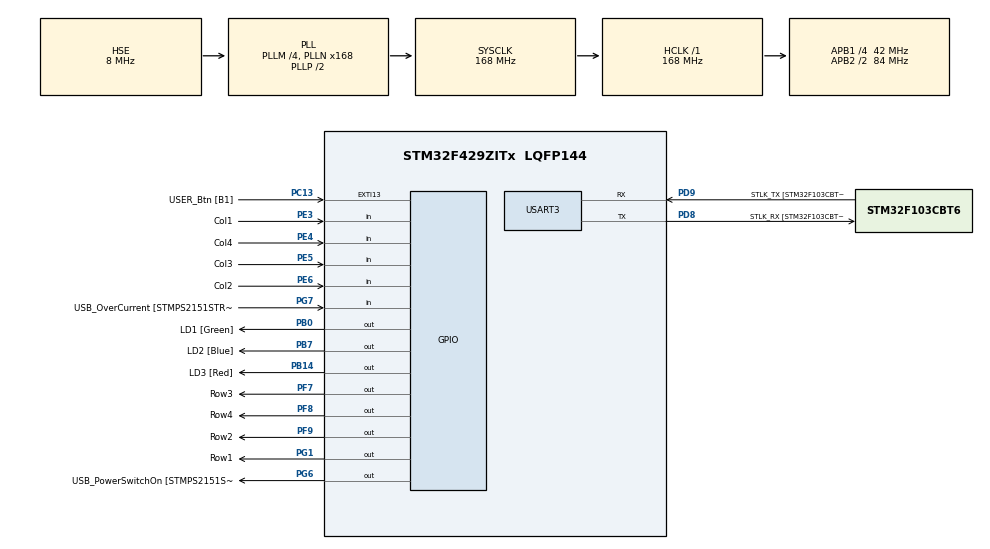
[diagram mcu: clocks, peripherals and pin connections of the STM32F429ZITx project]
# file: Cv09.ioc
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Mcu.Family=STM32F4
Mcu.Name=STM32F429ZITx
Mcu.Package=LQFP144
NVIC.PriorityGroup=NVIC_PRIORITYGROUP_4
NVIC.TIM3_IRQn=true\:0\:0\:false\:false\:true\:true\:true\:true
PA1.GPIO_Label=RMII_REF_CLK [LAN8742A-CZ-TR_REFCLK0]
PA1.Signal=ETH_REF_CLK
PA10.GPIO_Label=USB_ID
PA10.Signal=USB_OTG_FS_ID
PA11.GPIO_Label=USB_DM
PA11.Signal=USB_OTG_FS_DM
PA12.GPIO_Label=USB_DP
PA12.Signal=USB_OTG_FS_DP
PA13.GPIO_Label=TMS
PA13.Mode=Serial_Wire
PA13.Signal=SYS_JTMS-SWDIO
PA14.GPIO_Label=TCK
PA14.Mode=Serial_Wire
PA14.Signal=SYS_JTCK-SWCLK
PA2.GPIO_Label=RMII_MDIO [LAN8742A-CZ-TR_MDIO]
PA2.Signal=ETH_MDIO
PA7.GPIO_Label=RMII_CRS_DV [LAN8742A-CZ-TR_CRS_DV]
PA7.Signal=ETH_CRS_DV
PA8.GPIO_Label=USB_SOF [TP1]
PA8.Signal=USB_OTG_FS_SOF
PA9.GPIO_Label=USB_VBUS
PA9.Signal=USB_OTG_FS_VBUS
PB0.GPIO_Label=LD1 [Green]
PB0.Signal=GPIO_Output
PB13.GPIO_Label=RMII_TXD1 [LAN8742A-CZ-TR_TXD1]
PB13.Signal=ETH_TXD1
PB14.GPIO_Label=LD3 [Red]
PB14.Signal=GPIO_Output
PB7.GPIO_Label=LD2 [Blue]
PB7.Signal=GPIO_Output
PC1.GPIO_Label=RMII_MDC [LAN8742A-CZ-TR_MDC]
PC1.Signal=ETH_MDC
PC13.GPIO_Label=USER_Btn [B1]
PC13.Signal=GPXTI13
PC14/OSC32_IN.Mode=LSE-External-Oscillator
PC14/OSC32_IN.Signal=RCC_OSC32_IN
PC15/OSC32_OUT.Mode=LSE-External-Oscillator
PC15/OSC32_OUT.Signal=RCC_OSC32_OUT
PC4.GPIO_Label=RMII_RXD0 [LAN8742A-CZ-TR_RXD0]
PC4.Signal=ETH_RXD0
PC5.GPIO_Label=RMII_RXD1 [LAN8742A-CZ-TR_RXD1]
PC5.Signal=ETH_RXD1
PD8.GPIO_Label=STLK_RX [STM32F103CBT6_PA3]
PD8.Mode=Asynchronous
PD8.Signal=USART3_TX
PD9.GPIO_Label=STLK_TX [STM32F103CBT6_PA2]
PD9.Mode=Asynchronous
PD9.Signal=USART3_RX
PE3.GPIO_Label=Col1
PE3.GPIO_PuPd=GPIO_PULLUP
PE3.Signal=GPIO_Input
PE4.GPIO_Label=Col4
PE4.GPIO_PuPd=GPIO_PULLUP
PE4.Signal=GPIO_Input
PE5.GPIO_Label=Col3
PE5.GPIO_PuPd=GPIO_PULLUP
PE5.Signal=GPIO_Input
PE6.GPIO_Label=Col2
PE6.GPIO_PuPd=GPIO_PULLUP
PE6.Signal=GPIO_Input
PF7.GPIO_Label=Row3
PF7.GPIO_ModeDefaultOutputPP=GPIO_MODE_OUTPUT_OD
PF7.GPIO_PuPd=GPIO_NOPULL
PF7.Signal=GPIO_Output
PF8.GPIO_Label=Row4
PF8.GPIO_ModeDefaultOutputPP=GPIO_MODE_OUTPUT_OD
PF8.GPIO_PuPd=GPIO_NOPULL
PF8.Signal=GPIO_Output
PF9.GPIO_Label=Row2
PF9.GPIO_ModeDefaultOutputPP=GPIO_MODE_OUTPUT_OD
PF9.GPIO_PuPd=GPIO_NOPULL
PF9.Signal=GPIO_Output
PG1.GPIO_Label=Row1
PG1.GPIO_ModeDefaultOutputPP=GPIO_MODE_OUTPUT_OD
PG1.GPIO_PuPd=GPIO_NOPULL
PG1.Signal=GPIO_Output
PG11.GPIO_Label=RMII_TX_EN [LAN8742A-CZ-TR_TXEN]
PG11.Signal=ETH_TX_EN
PG13.GPIO_Label=RMII_TXD0 [LAN8742A-CZ-TR_TXD0]
PG13.Signal=ETH_TXD0
PG6.GPIO_Label=USB_PowerSwitchOn [STMPS2151STR_EN]
PG6.Signal=GPIO_Output
PG7.GPIO_Label=USB_OverCurrent [STMPS2151STR_FAULT]
PG7.Signal=GPIO_Input
PH0/OSC_IN.GPIO_Label=MCO [STM32F103CBT6_PA8]
PH0/OSC_IN.Mode=HSE-External-Clock-Source
PH0/OSC_IN.Signal=RCC_OSC_IN
PH1/OSC_OUT.Mode=HSE-External-Clock-Source
PH1/OSC_OUT.Signal=RCC_OSC_OUT
ProjectManager.HeapSize=0x200
ProjectManager.StackSize=0x400
ProjectManager.TargetToolchain=STM32CubeIDE
RCC.48MHZClocksFreq_Value=48000000
RCC.AHBFreq_Value=168000000
RCC.APB1CLKDivider=RCC_HCLK_DIV4
RCC.APB1Freq_Value=42000000
RCC.APB1TimFreq_Value=84000000
RCC.APB2CLKDivider=RCC_HCLK_DIV2
RCC.APB2Freq_Value=84000000
RCC.APB2TimCLKDivider=2
RCC.APB2TimFreq_Value=168000000
RCC.CortexFreq_Value=168000000
RCC.HCLKFreq_Value=168000000
RCC.HSE_VALUE=8000000
RCC.HSI_VALUE=16000000
RCC.PLLM=4
RCC.PLLMUL=RCC_PLL_MUL9
RCC.PLLN=168
RCC.PLLQ=7
RCC.PLLSourceVirtual=RCC_PLLSOURCE_HSE
RCC.PRESCALERUSB=RCC_USBCLKSOURCE_PLL_DIV1_5
RCC.SYSCLKFreq_VALUE=168000000
RCC.SYSCLKSource=RCC_SYSCLKSOURCE_PLLCLK
RCC.SYSCLKSourceVirtual=RCC_SYSCLKSOURCE_PLLCLK
RCC.USBFreq_Value=48000000
RCC.VCOOutputFreq_Value=336000000
TIM3.Period=99
TIM3.Prescaler=8399
USART3.VirtualMode=VM_ASYNC
VP_TIM3_VS_ClockSourceINT.Mode=Internal
board=NUCLEO-F429ZI

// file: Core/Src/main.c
/* USER CODE BEGIN Header */
/**
  ******************************************************************************
  * @file           : main.c
  * @brief          : Main program body
  ******************************************************************************
  * @attention
  *
  * Copyright (c) 2025 STMicroelectronics.
  * All rights reserved.
  *
  * This software is licensed under terms that can be found in the LICENSE file
  * in the root directory of this software component.
  * If no LICENSE file comes with this software, it is provided AS-IS.
  *
  ******************************************************************************
  */
/* USER CODE END Header */
#include "main.h"

/* USER CODE BEGIN Includes */
#include <stdio.h>
/* USER CODE END Includes */

TIM_HandleTypeDef htim3;

UART_HandleTypeDef huart3;

/* USER CODE BEGIN PV */
static volatile char key = 0;

#define CODE_TIMEOUT  3000 //time out for code reset
/* USER CODE END PV */

void SystemClock_Config(void);
static void MX_GPIO_Init(void);
static void MX_USART3_UART_Init(void);
static void MX_TIM3_Init(void);
/* USER CODE BEGIN PFP */

int __io_putchar(int ch)
{
	  ITM_SendChar(ch);
	  return 0;
}

/* USER CODE END PFP */

int main(void)
{

  /* MCU Configuration--------------------------------------------------------*/

  /* Reset of all peripherals, Initializes the Flash interface and the Systick. */
  HAL_Init();

  /* Configure the system clock */
  SystemClock_Config();

  /* Initialize all configured peripherals */
  MX_GPIO_Init();
  MX_USART3_UART_Init();
  MX_TIM3_Init();
  /* USER CODE BEGIN 2 */

  HAL_TIM_Base_Start_IT(&htim3);

  /* USER CODE END 2 */

  /* Infinite loop */
  /* USER CODE BEGIN WHILE */
  printf("Start\n");
  while (1)
  {
/*
	  HAL_GPIO_TogglePin(LD1_GPIO_Port, LD1_Pin);
	  HAL_Delay(250);

	  if (key != 0) {
		  printf("pressed '%c'\n", key);
		  HAL_Delay(500);
		  key = 0;
	  }
*/

	  static const char code[] = { '7', '9', '3', '2', '#' };
	  static uint8_t pos = 0;
	  static uint32_t last_ok = 0;

	  uint32_t now = HAL_GetTick();

	    if (now - last_ok > CODE_TIMEOUT) {
	        pos = 0;
	        HAL_GPIO_WritePin(LD1_GPIO_Port, LD1_Pin, GPIO_PIN_RESET);
	    }

	    if (key != 0) {
	        printf("pressed '%c'\n", key);

	        if (key == code[pos]) {
	            pos++;
	            last_ok = now;

	            if (pos == sizeof(code)) {
	                HAL_GPIO_WritePin(LD1_GPIO_Port, LD1_Pin, GPIO_PIN_SET);
	                printf("good job\n");
	                pos = 0;
	            }
	        } else {

	            pos = 0;
	            HAL_GPIO_WritePin(LD1_GPIO_Port, LD1_Pin, GPIO_PIN_RESET);
	            printf("wrong\n");
	        }
			HAL_Delay(500);
	        key = 0;
	    }

    /* USER CODE END WHILE */

  }
}

void SystemClock_Config(void)
{
  RCC_OscInitTypeDef RCC_OscInitStruct = {0};
  RCC_ClkInitTypeDef RCC_ClkInitStruct = {0};

  /** Configure the main internal regulator output voltage
  */
  __HAL_RCC_PWR_CLK_ENABLE();
  __HAL_PWR_VOLTAGESCALING_CONFIG(PWR_REGULATOR_VOLTAGE_SCALE1);

  /** Initializes the RCC Oscillators according to the specified parameters
  * in the RCC_OscInitTypeDef structure.
  */
  RCC_OscInitStruct.OscillatorType = RCC_OSCILLATORTYPE_HSE;
  RCC_OscInitStruct.HSEState = RCC_HSE_BYPASS;
  RCC_OscInitStruct.PLL.PLLState = RCC_PLL_ON;
  RCC_OscInitStruct.PLL.PLLSource = RCC_PLLSOURCE_HSE;
  RCC_OscInitStruct.PLL.PLLM = 4;
  RCC_OscInitStruct.PLL.PLLN = 168;
  RCC_OscInitStruct.PLL.PLLP = RCC_PLLP_DIV2;
  RCC_OscInitStruct.PLL.PLLQ = 7;
  if (HAL_RCC_OscConfig(&RCC_OscInitStruct) != HAL_OK)
  {
    Error_Handler();
  }

  /** Initializes the CPU, AHB and APB buses clocks
  */
  RCC_ClkInitStruct.ClockType = RCC_CLOCKTYPE_HCLK|RCC_CLOCKTYPE_SYSCLK
                              |RCC_CLOCKTYPE_PCLK1|RCC_CLOCKTYPE_PCLK2;
  RCC_ClkInitStruct.SYSCLKSource = RCC_SYSCLKSOURCE_PLLCLK;
  RCC_ClkInitStruct.AHBCLKDivider = RCC_SYSCLK_DIV1;
  RCC_ClkInitStruct.APB1CLKDivider = RCC_HCLK_DIV4;
  RCC_ClkInitStruct.APB2CLKDivider = RCC_HCLK_DIV2;

  if (HAL_RCC_ClockConfig(&RCC_ClkInitStruct, FLASH_LATENCY_5) != HAL_OK)
  {
    Error_Handler();
  }
}

static void MX_TIM3_Init(void)
{

  TIM_ClockConfigTypeDef sClockSourceConfig = {0};
  TIM_MasterConfigTypeDef sMasterConfig = {0};

  htim3.Instance = TIM3;
  htim3.Init.Prescaler = 8399;
  htim3.Init.CounterMode = TIM_COUNTERMODE_UP;
  htim3.Init.Period = 99;
  htim3.Init.ClockDivision = TIM_CLOCKDIVISION_DIV1;
  htim3.Init.AutoReloadPreload = TIM_AUTORELOAD_PRELOAD_DISABLE;
  if (HAL_TIM_Base_Init(&htim3) != HAL_OK)
  {
    Error_Handler();
  }
  sClockSourceConfig.ClockSource = TIM_CLOCKSOURCE_INTERNAL;
  if (HAL_TIM_ConfigClockSource(&htim3, &sClockSourceConfig) != HAL_OK)
  {
    Error_Handler();
  }
  sMasterConfig.MasterOutputTrigger = TIM_TRGO_RESET;
  sMasterConfig.MasterSlaveMode = TIM_MASTERSLAVEMODE_DISABLE;
  if (HAL_TIMEx_MasterConfigSynchronization(&htim3, &sMasterConfig) != HAL_OK)
  {
    Error_Handler();
  }

}

static void MX_USART3_UART_Init(void)
{

  huart3.Instance = USART3;
  huart3.Init.BaudRate = 115200;
  huart3.Init.WordLength = UART_WORDLENGTH_8B;
  huart3.Init.StopBits = UART_STOPBITS_1;
  huart3.Init.Parity = UART_PARITY_NONE;
  huart3.Init.Mode = UART_MODE_TX_RX;
  huart3.Init.HwFlowCtl = UART_HWCONTROL_NONE;
  huart3.Init.OverSampling = UART_OVERSAMPLING_16;
  if (HAL_UART_Init(&huart3) != HAL_OK)
  {
    Error_Handler();
  }

}

static void MX_GPIO_Init(void)
{
  GPIO_InitTypeDef GPIO_InitStruct = {0};

  /* GPIO Ports Clock Enable */
  __HAL_RCC_GPIOE_CLK_ENABLE();
  __HAL_RCC_GPIOC_CLK_ENABLE();
  __HAL_RCC_GPIOF_CLK_ENABLE();
  __HAL_RCC_GPIOH_CLK_ENABLE();
  __HAL_RCC_GPIOA_CLK_ENABLE();
  __HAL_RCC_GPIOB_CLK_ENABLE();
  __HAL_RCC_GPIOG_CLK_ENABLE();
  __HAL_RCC_GPIOD_CLK_ENABLE();

  /*Configure GPIO pin Output Level */
  HAL_GPIO_WritePin(GPIOF, Row3_Pin|Row4_Pin|Row2_Pin, GPIO_PIN_RESET);

  /*Configure GPIO pin Output Level */
  HAL_GPIO_WritePin(GPIOB, LD1_Pin|LD3_Pin|LD2_Pin, GPIO_PIN_RESET);

  /*Configure GPIO pin Output Level */
  HAL_GPIO_WritePin(GPIOG, Row1_Pin|USB_PowerSwitchOn_Pin, GPIO_PIN_RESET);

  /*Configure GPIO pins : Col1_Pin Col4_Pin Col3_Pin Col2_Pin */
  GPIO_InitStruct.Pin = Col1_Pin|Col4_Pin|Col3_Pin|Col2_Pin;
  GPIO_InitStruct.Mode = GPIO_MODE_INPUT;
  GPIO_InitStruct.Pull = GPIO_PULLUP;
  HAL_GPIO_Init(GPIOE, &GPIO_InitStruct);

  /*Configure GPIO pin : USER_Btn_Pin */
  GPIO_InitStruct.Pin = USER_Btn_Pin;
  GPIO_InitStruct.Mode = GPIO_MODE_IT_RISING;
  GPIO_InitStruct.Pull = GPIO_NOPULL;
  HAL_GPIO_Init(USER_Btn_GPIO_Port, &GPIO_InitStruct);

  /*Configure GPIO pins : Row3_Pin Row4_Pin Row2_Pin */
  GPIO_InitStruct.Pin = Row3_Pin|Row4_Pin|Row2_Pin;
  GPIO_InitStruct.Mode = GPIO_MODE_OUTPUT_OD;
  GPIO_InitStruct.Pull = GPIO_NOPULL;
  GPIO_InitStruct.Speed = GPIO_SPEED_FREQ_LOW;
  HAL_GPIO_Init(GPIOF, &GPIO_InitStruct);

  /*Configure GPIO pins : RMII_MDC_Pin RMII_RXD0_Pin RMII_RXD1_Pin */
  GPIO_InitStruct.Pin = RMII_MDC_Pin|RMII_RXD0_Pin|RMII_RXD1_Pin;
  GPIO_InitStruct.Mode = GPIO_MODE_AF_PP;
  GPIO_InitStruct.Pull = GPIO_NOPULL;
  GPIO_InitStruct.Speed = GPIO_SPEED_FREQ_VERY_HIGH;
  GPIO_InitStruct.Alternate = GPIO_AF11_ETH;
  HAL_GPIO_Init(GPIOC, &GPIO_InitStruct);

  /*Configure GPIO pins : RMII_REF_CLK_Pin RMII_MDIO_Pin RMII_CRS_DV_Pin */
  GPIO_InitStruct.Pin = RMII_REF_CLK_Pin|RMII_MDIO_Pin|RMII_CRS_DV_Pin;
  GPIO_InitStruct.Mode = GPIO_MODE_AF_PP;
  GPIO_InitStruct.Pull = GPIO_NOPULL;
  GPIO_InitStruct.Speed = GPIO_SPEED_FREQ_VERY_HIGH;
  GPIO_InitStruct.Alternate = GPIO_AF11_ETH;
  HAL_GPIO_Init(GPIOA, &GPIO_InitStruct);

  /*Configure GPIO pins : LD1_Pin LD3_Pin LD2_Pin */
  GPIO_InitStruct.Pin = LD1_Pin|LD3_Pin|LD2_Pin;
  GPIO_InitStruct.Mode = GPIO_MODE_OUTPUT_PP;
  GPIO_InitStruct.Pull = GPIO_NOPULL;
  GPIO_InitStruct.Speed = GPIO_SPEED_FREQ_LOW;
  HAL_GPIO_Init(GPIOB, &GPIO_InitStruct);

  /*Configure GPIO pin : Row1_Pin */
  GPIO_InitStruct.Pin = Row1_Pin;
  GPIO_InitStruct.Mode = GPIO_MODE_OUTPUT_OD;
  GPIO_InitStruct.Pull = GPIO_NOPULL;
  GPIO_InitStruct.Speed = GPIO_SPEED_FREQ_LOW;
  HAL_GPIO_Init(Row1_GPIO_Port, &GPIO_InitStruct);

  /*Configure GPIO pin : RMII_TXD1_Pin */
  GPIO_InitStruct.Pin = RMII_TXD1_Pin;
  GPIO_InitStruct.Mode = GPIO_MODE_AF_PP;
  GPIO_InitStruct.Pull = GPIO_NOPULL;
  GPIO_InitStruct.Speed = GPIO_SPEED_FREQ_VERY_HIGH;
  GPIO_InitStruct.Alternate = GPIO_AF11_ETH;
  HAL_GPIO_Init(RMII_TXD1_GPIO_Port, &GPIO_InitStruct);

  /*Configure GPIO pin : USB_PowerSwitchOn_Pin */
  GPIO_InitStruct.Pin = USB_PowerSwitchOn_Pin;
  GPIO_InitStruct.Mode = GPIO_MODE_OUTPUT_PP;
  GPIO_InitStruct.Pull = GPIO_NOPULL;
  GPIO_InitStruct.Speed = GPIO_SPEED_FREQ_LOW;
  HAL_GPIO_Init(USB_PowerSwitchOn_GPIO_Port, &GPIO_InitStruct);

  /*Configure GPIO pin : USB_OverCurrent_Pin */
  GPIO_InitStruct.Pin = USB_OverCurrent_Pin;
  GPIO_InitStruct.Mode = GPIO_MODE_INPUT;
  GPIO_InitStruct.Pull = GPIO_NOPULL;
  HAL_GPIO_Init(USB_OverCurrent_GPIO_Port, &GPIO_InitStruct);

  /*Configure GPIO pins : USB_SOF_Pin USB_ID_Pin USB_DM_Pin USB_DP_Pin */
  GPIO_InitStruct.Pin = USB_SOF_Pin|USB_ID_Pin|USB_DM_Pin|USB_DP_Pin;
  GPIO_InitStruct.Mode = GPIO_MODE_AF_PP;
  GPIO_InitStruct.Pull = GPIO_NOPULL;
  GPIO_InitStruct.Speed = GPIO_SPEED_FREQ_VERY_HIGH;
  GPIO_InitStruct.Alternate = GPIO_AF10_OTG_FS;
  HAL_GPIO_Init(GPIOA, &GPIO_InitStruct);

  /*Configure GPIO pin : USB_VBUS_Pin */
  GPIO_InitStruct.Pin = USB_VBUS_Pin;
  GPIO_InitStruct.Mode = GPIO_MODE_INPUT;
  GPIO_InitStruct.Pull = GPIO_NOPULL;
  HAL_GPIO_Init(USB_VBUS_GPIO_Port, &GPIO_InitStruct);

  /*Configure GPIO pins : RMII_TX_EN_Pin RMII_TXD0_Pin */
  GPIO_InitStruct.Pin = RMII_TX_EN_Pin|RMII_TXD0_Pin;
  GPIO_InitStruct.Mode = GPIO_MODE_AF_PP;
  GPIO_InitStruct.Pull = GPIO_NOPULL;
  GPIO_InitStruct.Speed = GPIO_SPEED_FREQ_VERY_HIGH;
  GPIO_InitStruct.Alternate = GPIO_AF11_ETH;
  HAL_GPIO_Init(GPIOG, &GPIO_InitStruct);

}

/* USER CODE BEGIN 4 */

void HAL_TIM_PeriodElapsedCallback(TIM_HandleTypeDef *htim)
{
	static uint8_t row = 0;
	static const char keyboard[4][4] = {
			{ '1', '2', '3', 'A' },
			{ '4', '5', '6', 'B' },
			{ '7', '8', '9', 'C' },
			{ '*', '0', '#', 'D' },
	};

	if (key == 0) {
		if (HAL_GPIO_ReadPin(Col1_GPIO_Port, Col1_Pin) == GPIO_PIN_RESET) {
			key = keyboard[row][0];
		}
		if (HAL_GPIO_ReadPin(Col2_GPIO_Port, Col2_Pin) == GPIO_PIN_RESET) {
			key = keyboard[row][1];
		}
		if (HAL_GPIO_ReadPin(Col3_GPIO_Port, Col3_Pin) == GPIO_PIN_RESET) {
			key = keyboard[row][2];
		}
		if (HAL_GPIO_ReadPin(Col4_GPIO_Port, Col4_Pin) == GPIO_PIN_RESET) {
			key = keyboard[row][3];
		}
	}

	HAL_GPIO_WritePin(Row1_GPIO_Port, Row1_Pin, GPIO_PIN_SET);
	HAL_GPIO_WritePin(Row2_GPIO_Port, Row2_Pin, GPIO_PIN_SET);
	HAL_GPIO_WritePin(Row3_GPIO_Port, Row3_Pin, GPIO_PIN_SET);
	HAL_GPIO_WritePin(Row4_GPIO_Port, Row4_Pin, GPIO_PIN_SET);
	switch (row) {
	case 0:
		row = 1;
		HAL_GPIO_WritePin(Row2_GPIO_Port, Row2_Pin, GPIO_PIN_RESET);
		break;
	case 1:
		row = 2;
		HAL_GPIO_WritePin(Row3_GPIO_Port, Row3_Pin, GPIO_PIN_RESET);
		break;
	case 2:
		row = 3;
		HAL_GPIO_WritePin(Row4_GPIO_Port, Row4_Pin, GPIO_PIN_RESET);
		break;
	case 3:
		row = 0;
		HAL_GPIO_WritePin(Row1_GPIO_Port, Row1_Pin, GPIO_PIN_RESET);
		break;
	}
}

/* USER CODE END 4 */

void Error_Handler(void)
{
  __disable_irq();
  while (1)
  {
  }
}
